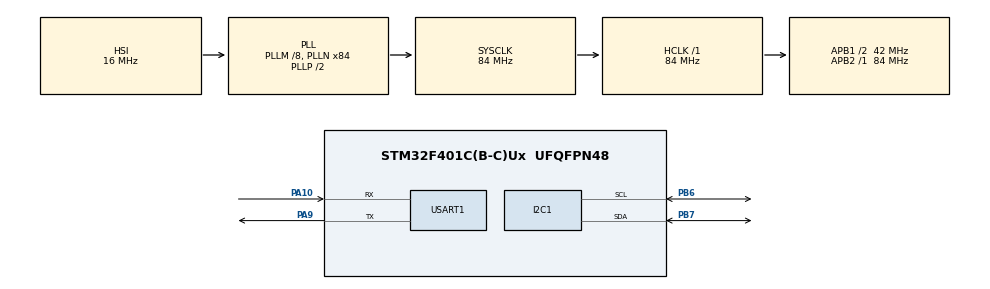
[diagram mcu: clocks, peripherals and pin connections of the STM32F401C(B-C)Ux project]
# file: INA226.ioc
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I2C1.I2C_Mode=I2C_Fast
Mcu.Family=STM32F4
Mcu.Name=STM32F401C(B-C)Ux
Mcu.Package=UFQFPN48
NVIC.PriorityGroup=NVIC_PRIORITYGROUP_4
PA10.Mode=Asynchronous
PA10.Signal=USART1_RX
PA9.Mode=Asynchronous
PA9.Signal=USART1_TX
PB6.Mode=I2C
PB6.Signal=I2C1_SCL
PB7.Mode=I2C
PB7.Signal=I2C1_SDA
PH0\ -\ OSC_IN.Mode=HSE-External-Oscillator
PH0\ -\ OSC_IN.Signal=RCC_OSC_IN
PH1\ -\ OSC_OUT.Mode=HSE-External-Oscillator
PH1\ -\ OSC_OUT.Signal=RCC_OSC_OUT
ProjectManager.HeapSize=0x200
ProjectManager.StackSize=0x400
ProjectManager.TargetToolchain=STM32CubeIDE
RCC.48MHZClocksFreq_Value=42000000
RCC.AHBFreq_Value=84000000
RCC.APB1CLKDivider=RCC_HCLK_DIV2
RCC.APB1Freq_Value=42000000
RCC.APB1TimFreq_Value=84000000
RCC.APB2Freq_Value=84000000
RCC.APB2TimFreq_Value=84000000
RCC.CortexFreq_Value=84000000
RCC.EnbaleCSS=true
RCC.HCLKFreq_Value=84000000
RCC.HSE_VALUE=25000000
RCC.HSI_VALUE=16000000
RCC.LSE_VALUE=32768
RCC.PLLM=25
RCC.PLLN=168
RCC.PLLSourceVirtual=RCC_PLLSOURCE_HSE
RCC.SYSCLKFreq_VALUE=84000000
RCC.SYSCLKSource=RCC_SYSCLKSOURCE_PLLCLK
RCC.VCOOutputFreq_Value=168000000
USART1.VirtualMode=VM_ASYNC
board=custom

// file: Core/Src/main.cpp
/* USER CODE BEGIN Header */
/**
  ******************************************************************************
  * @file           : main.c
  * @brief          : Main program body
  ******************************************************************************
  * @attention
  *
  * Copyright (c) 2026 STMicroelectronics.
  * All rights reserved.
  *
  * This software is licensed under terms that can be found in the LICENSE file
  * in the root directory of this software component.
  * If no LICENSE file comes with this software, it is provided AS-IS.
  *
  ******************************************************************************
  */
/* USER CODE END Header */
#include "main.h"

/* USER CODE BEGIN Includes */
#include<INA226stm.h>
#include<stdio.h>
/* USER CODE END Includes */

I2C_HandleTypeDef hi2c1;

UART_HandleTypeDef huart1;

/* USER CODE BEGIN PV */
INA226stm sensor(0x45,&hi2c1);
/* USER CODE END PV */

void SystemClock_Config(void);
static void MX_GPIO_Init(void);
static void MX_I2C1_Init(void);
static void MX_USART1_UART_Init(void);

/* USER CODE BEGIN 0 */
// Send printf to uart1
extern "C" int _write(int fd, char* ptr, int len) {
  HAL_StatusTypeDef hstatus;

  if (fd == 1 || fd == 2) {
    hstatus = HAL_UART_Transmit(&huart1, (uint8_t *) ptr, len, HAL_MAX_DELAY);
    if (hstatus == HAL_OK)
      return len;
    else
      return -1;
  }
  return -1;
}

/* USER CODE END 0 */

int main(void)
{

  /* MCU Configuration--------------------------------------------------------*/

  /* Reset of all peripherals, Initializes the Flash interface and the Systick. */
  HAL_Init();

  /* Configure the system clock */
  SystemClock_Config();

  /* Initialize all configured peripherals */
  MX_GPIO_Init();
  MX_I2C1_Init();
  MX_USART1_UART_Init();
  /* USER CODE BEGIN 2 */
  setvbuf(stdout, NULL, _IONBF, 0);

  //float VshuntMax =  0.08192;  //81.92mV
  float resistor =   0.002;       //100mohm in theory 0.797
  //float maxcurrent =  (VshuntMax / resistor); //A
  float current_LSB =  1.0;//(maxcurrent / 32768)*1000; //mA

  if(sensor.begin()){
	  printf("connected\r\n");
	  HAL_Delay(3000);
  }
  else{
	  while(1){
		  printf("not connected\r\n");
	  }
  sensor.configure(resistor, current_LSB);
  sensor.setAverage(7);
  sensor.setMode(7);

  if(sensor.isCalibrated()){
	  printf("calibration successful\r\n");
	  HAL_Delay(2000);
  }
  else{
	  printf("calibration failed\r\n");
  }
  }
  //uint8_t found =0;
  /* USER CODE END 2 */

  /* Infinite loop */
  /* USER CODE BEGIN WHILE */
  while (1)
  {
	  float busV = sensor.getBusVoltage();
	  float current = sensor.getCurrent();
	  busV+=0.05;
	  printf("busV : %.2f | Current: %.2f\r\n",busV,current);

//	  for(uint8_t add=0x08; add<= 0x77;add++){
//		  if(HAL_I2C_IsDeviceReady(&hi2c1, add << 1, 3, 100)==HAL_OK){
//			  printf("device found at 0x%02X\r\n",(unsigned)add);
//			  found =1;
//		  }
//	  }
//	  if(!found){
//		  printf("not found\r\n");
//	  }
//
//	  printf("scan complete\r\n");

    /* USER CODE END WHILE */

  }
}

void SystemClock_Config(void)
{
  RCC_OscInitTypeDef RCC_OscInitStruct = {0};
  RCC_ClkInitTypeDef RCC_ClkInitStruct = {0};

  /** Configure the main internal regulator output voltage
  */
  __HAL_RCC_PWR_CLK_ENABLE();
  __HAL_PWR_VOLTAGESCALING_CONFIG(PWR_REGULATOR_VOLTAGE_SCALE2);

  /** Initializes the RCC Oscillators according to the specified parameters
  * in the RCC_OscInitTypeDef structure.
  */
  RCC_OscInitStruct.OscillatorType = RCC_OSCILLATORTYPE_HSI;
  RCC_OscInitStruct.HSIState = RCC_HSI_ON;
  RCC_OscInitStruct.HSICalibrationValue = RCC_HSICALIBRATION_DEFAULT;
  RCC_OscInitStruct.PLL.PLLState = RCC_PLL_ON;
  RCC_OscInitStruct.PLL.PLLSource = RCC_PLLSOURCE_HSI;
  RCC_OscInitStruct.PLL.PLLM = 8;
  RCC_OscInitStruct.PLL.PLLN = 84;
  RCC_OscInitStruct.PLL.PLLP = RCC_PLLP_DIV2;
  RCC_OscInitStruct.PLL.PLLQ = 4;
  if (HAL_RCC_OscConfig(&RCC_OscInitStruct) != HAL_OK)
  {
    Error_Handler();
  }

  /** Initializes the CPU, AHB and APB buses clocks
  */
  RCC_ClkInitStruct.ClockType = RCC_CLOCKTYPE_HCLK|RCC_CLOCKTYPE_SYSCLK
                              |RCC_CLOCKTYPE_PCLK1|RCC_CLOCKTYPE_PCLK2;
  RCC_ClkInitStruct.SYSCLKSource = RCC_SYSCLKSOURCE_PLLCLK;
  RCC_ClkInitStruct.AHBCLKDivider = RCC_SYSCLK_DIV1;
  RCC_ClkInitStruct.APB1CLKDivider = RCC_HCLK_DIV2;
  RCC_ClkInitStruct.APB2CLKDivider = RCC_HCLK_DIV1;

  if (HAL_RCC_ClockConfig(&RCC_ClkInitStruct, FLASH_LATENCY_2) != HAL_OK)
  {
    Error_Handler();
  }
}

static void MX_I2C1_Init(void)
{

  hi2c1.Instance = I2C1;
  hi2c1.Init.ClockSpeed = 400000;
  hi2c1.Init.DutyCycle = I2C_DUTYCYCLE_2;
  hi2c1.Init.OwnAddress1 = 0;
  hi2c1.Init.AddressingMode = I2C_ADDRESSINGMODE_7BIT;
  hi2c1.Init.DualAddressMode = I2C_DUALADDRESS_DISABLE;
  hi2c1.Init.OwnAddress2 = 0;
  hi2c1.Init.GeneralCallMode = I2C_GENERALCALL_DISABLE;
  hi2c1.Init.NoStretchMode = I2C_NOSTRETCH_DISABLE;
  if (HAL_I2C_Init(&hi2c1) != HAL_OK)
  {
    Error_Handler();
  }

}

static void MX_USART1_UART_Init(void)
{

  huart1.Instance = USART1;
  huart1.Init.BaudRate = 115200;
  huart1.Init.WordLength = UART_WORDLENGTH_8B;
  huart1.Init.StopBits = UART_STOPBITS_1;
  huart1.Init.Parity = UART_PARITY_NONE;
  huart1.Init.Mode = UART_MODE_TX_RX;
  huart1.Init.HwFlowCtl = UART_HWCONTROL_NONE;
  huart1.Init.OverSampling = UART_OVERSAMPLING_16;
  if (HAL_UART_Init(&huart1) != HAL_OK)
  {
    Error_Handler();
  }

}

static void MX_GPIO_Init(void)
{

  /* GPIO Ports Clock Enable */
  __HAL_RCC_GPIOA_CLK_ENABLE();
  __HAL_RCC_GPIOB_CLK_ENABLE();

}

void Error_Handler(void)
{
  __disable_irq();
  while (1)
  {
  }
}
